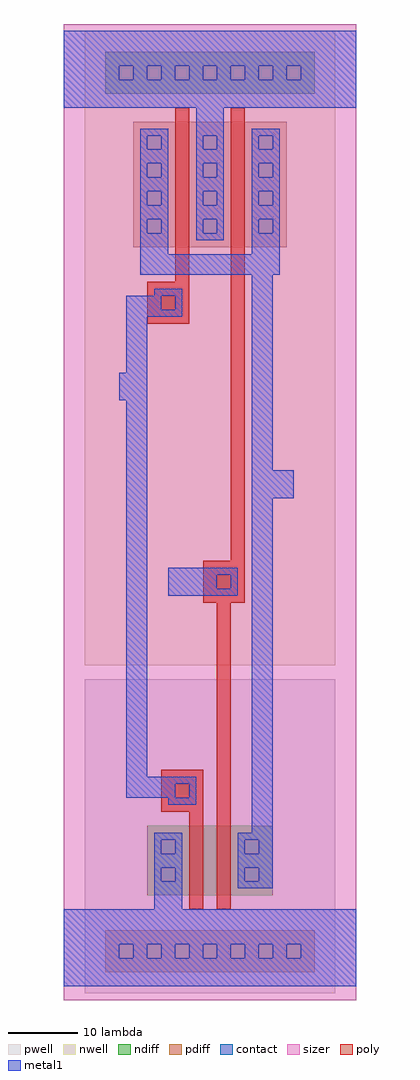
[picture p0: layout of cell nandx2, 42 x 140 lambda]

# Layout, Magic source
magic
tech concept
<< sizer >>
rect 0 0 42 140
<< metal1 >>
rect 0 134 42 139
rect 0 132 8 134
rect 10 132 12 134
rect 14 132 16 134
rect 18 132 20 134
rect 22 132 24 134
rect 26 132 28 134
rect 30 132 32 134
rect 34 132 42 134
rect 0 128 42 132
rect 19 124 23 128
rect 11 124 15 125
rect 27 124 31 125
rect 11 122 12 124
rect 14 122 15 124
rect 19 122 20 124
rect 22 122 23 124
rect 27 122 28 124
rect 30 122 31 124
rect 11 120 15 122
rect 19 120 23 122
rect 27 120 31 122
rect 11 118 12 120
rect 14 118 15 120
rect 19 118 20 120
rect 22 118 23 120
rect 27 118 28 120
rect 30 118 31 120
rect 11 116 15 118
rect 19 116 23 118
rect 27 116 31 118
rect 11 114 12 116
rect 14 114 15 116
rect 19 114 20 116
rect 22 114 23 116
rect 27 114 28 116
rect 30 114 31 116
rect 11 112 15 114
rect 19 112 23 114
rect 27 112 31 114
rect 11 110 12 112
rect 14 110 15 112
rect 19 110 20 112
rect 22 110 23 112
rect 27 110 28 112
rect 30 110 31 112
rect 11 107 15 110
rect 19 109 23 110
rect 27 107 31 110
rect 11 104 31 107
rect 27 76 30 104
rect 13 101 17 102
rect 9 99 14 101
rect 16 99 17 101
rect 9 98 17 99
rect 9 90 12 98
rect 8 86 12 90
rect 9 32 12 86
rect 27 72 33 76
rect 27 24 30 72
rect 15 61 25 62
rect 15 59 22 61
rect 24 59 25 61
rect 15 58 25 59
rect 9 31 19 32
rect 9 29 16 31
rect 18 29 19 31
rect 15 28 19 29
rect 13 23 17 24
rect 25 23 30 24
rect 13 21 14 23
rect 16 21 17 23
rect 25 21 26 23
rect 28 21 30 23
rect 13 19 17 21
rect 25 19 30 21
rect 13 17 14 19
rect 16 17 17 19
rect 25 17 26 19
rect 28 17 30 19
rect 13 13 17 17
rect 25 16 30 17
rect 0 8 42 13
rect 0 6 8 8
rect 10 6 12 8
rect 14 6 16 8
rect 18 6 20 8
rect 22 6 24 8
rect 26 6 28 8
rect 30 6 32 8
rect 34 6 42 8
rect 0 2 42 6
<< contact >>
rect 8 132 10 134
rect 12 132 14 134
rect 16 132 18 134
rect 20 132 22 134
rect 24 132 26 134
rect 28 132 30 134
rect 32 132 34 134
rect 12 122 14 124
rect 20 122 22 124
rect 28 122 30 124
rect 12 118 14 120
rect 20 118 22 120
rect 28 118 30 120
rect 12 114 14 116
rect 20 114 22 116
rect 28 114 30 116
rect 12 110 14 112
rect 20 110 22 112
rect 28 110 30 112
rect 14 99 16 101
rect 22 59 24 61
rect 16 29 18 31
rect 14 21 16 23
rect 26 21 28 23
rect 14 17 16 19
rect 26 17 28 19
rect 8 6 10 8
rect 12 6 14 8
rect 16 6 18 8
rect 20 6 22 8
rect 24 6 26 8
rect 28 6 30 8
rect 32 6 34 8
<< poly >>
rect 16 103 18 128
rect 24 63 26 128
rect 12 97 18 103
rect 20 57 26 63
rect 22 13 24 57
rect 14 27 20 33
rect 18 13 20 27
<< ndiff >>
rect 6 130 36 136
rect 12 15 30 25
<< pdiff >>
rect 10 108 32 126
rect 6 4 36 10
<< nwell >>
rect 3 48 39 139
<< pwell >>
rect 3 1 39 46
<< end >>
